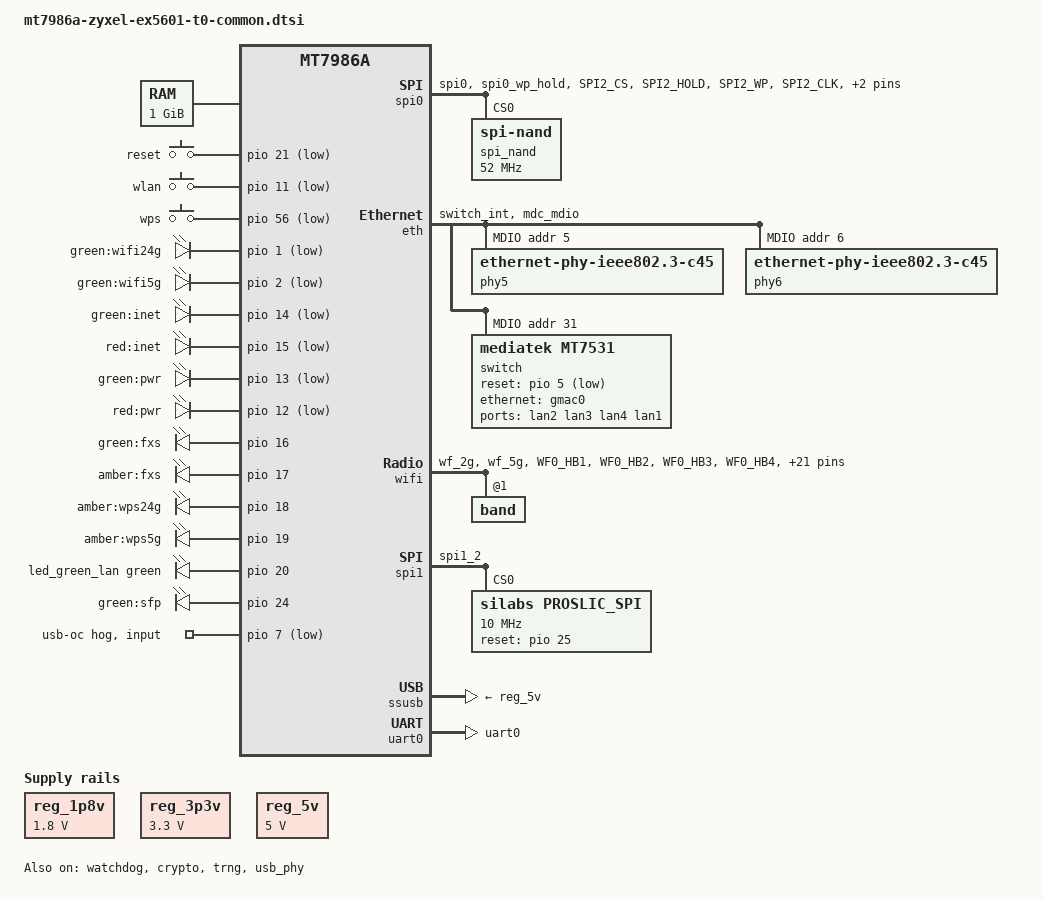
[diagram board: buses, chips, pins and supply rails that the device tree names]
// SPDX-License-Identifier: (GPL-2.0 OR MIT)
/*
 * Copyright (C) 2021 MediaTek Inc.
 * Author: Sam.Shih <sam.shih@mediatek.com>
 */

#include <dt-bindings/gpio/gpio.h>
#include <dt-bindings/input/input.h>
#include <dt-bindings/leds/common.h>
#include <dt-bindings/pinctrl/mt65xx.h>

#include "mt7986a.dtsi"

/ {
	aliases {
		serial0 = &uart0;
		label-mac-device = &gmac0;
		led-boot = &led_status_green;
		led-failsafe = &led_status_red;
		led-running = &led_status_green;
		led-upgrade = &led_status_red;
	};

	chosen {
		stdout-path = "serial0:115200n8";
	};

	memory@40000000 {
		reg = <0 0x40000000 0 0x40000000>;
		device_type = "memory";
	};

	reg_1p8v: regulator-1p8v {
		compatible = "regulator-fixed";
		regulator-name = "fixed-1.8V";
		regulator-min-microvolt = <1800000>;
		regulator-max-microvolt = <1800000>;
		regulator-boot-on;
		regulator-always-on;
	};

	reg_3p3v: regulator-3p3v {
		compatible = "regulator-fixed";
		regulator-name = "fixed-3.3V";
		regulator-min-microvolt = <3300000>;
		regulator-max-microvolt = <3300000>;
		regulator-boot-on;
		regulator-always-on;
	};

	reg_5v: regulator-5v {
		compatible = "regulator-fixed";
		regulator-name = "fixed-5V";
		regulator-min-microvolt = <5000000>;
		regulator-max-microvolt = <5000000>;
		regulator-boot-on;
		regulator-always-on;
	};

	gpio-keys {
		compatible = "gpio-keys";
		poll-interval = <20>;

		reset-button {
			label = "reset";
			gpios = <&pio 21 GPIO_ACTIVE_LOW>;
			linux,code = <KEY_RESTART>;
		};

		wlan-button {
			label = "wlan";
			gpios = <&pio 11 GPIO_ACTIVE_LOW>;
			linux,code = <KEY_WLAN>;
		};
		wps-button {
			label = "wps";
			gpios = <&pio 56 GPIO_ACTIVE_LOW>;
			linux,code = <KEY_WPS_BUTTON>;
		};
	};

	leds {
		compatible = "gpio-leds";

		led_green_wifi24g {
			label = "green:wifi24g";
			gpios = <&pio 1 GPIO_ACTIVE_LOW>;
			default-state = "off";
		};

		led_green_wifi5g {
			label = "green:wifi5g";
			gpios = <&pio 2 GPIO_ACTIVE_LOW>;
			default-state = "off";
		};

		led_green_inet {
			label = "green:inet";
			gpios = <&pio 14 GPIO_ACTIVE_LOW>;
			default-state = "off";
		};

		led_red_inet {
			label = "red:inet";
			gpios = <&pio 15 GPIO_ACTIVE_LOW>;
			default-state = "off";
		};

		led_status_green: led_green_pwr {
			label = "green:pwr";
			gpios = <&pio 13 GPIO_ACTIVE_LOW>;
			linux,default-trigger = "timer"; /* Default blinking */
			led-pattern = <125 125>; /* Fast blink is 4 HZ */
		};

		led_status_red: led_red_pwr {
			label = "red:pwr";
			gpios = <&pio 12 GPIO_ACTIVE_LOW>;
			default-state = "off";
		};

		led_green_fxs {
			label = "green:fxs";
			gpios = <&pio 16 GPIO_ACTIVE_HIGH>;
			default-state = "off";
		};

		led_amber_fxs {
			label = "amber:fxs";
			gpios = <&pio 17 GPIO_ACTIVE_HIGH>;
			default-state = "off";
		};

		led_amber_wps24g {
			label = "amber:wps24g";
			gpios = <&pio 18 GPIO_ACTIVE_HIGH>;
			default-state = "off";
		};

		led_amber_wps5g {
			label = "amber:wps5g";
			gpios = <&pio 19 GPIO_ACTIVE_HIGH>;
			default-state = "off";
		};

		led_green_lan {
			function = LED_FUNCTION_LAN;
			color = <LED_COLOR_ID_GREEN>;
			gpios = <&pio 20 GPIO_ACTIVE_HIGH>;
			default-state = "off";
		};

		led_green_sfp {
			label = "green:sfp";
			gpios = <&pio 24 GPIO_ACTIVE_HIGH>;
			default-state = "off";
		};
	};
};

&spi0 {
	pinctrl-names = "default";
	pinctrl-0 = <&spi_flash_pins>;
	#address-cells = <1>;
	#size-cells = <0>;
	status = "okay";

	spi_nand: spi_nand@0 {
		#address-cells = <1>;
		#size-cells = <1>;
		compatible = "spi-nand";
		reg = <0>;
		spi-max-frequency = <52000000>;
		spi-tx-bus-width = <4>;
		spi-rx-bus-width = <4>;

		nand_partitions: partitions {
			compatible = "fixed-partitions";
			#address-cells = <1>;
			#size-cells = <1>;
		};
	};
};

&eth {
	pinctrl-names = "default";
	pinctrl-0 = <&eth_pins>;
	status = "okay";

	gmac0: mac@0 {
		compatible = "mediatek,eth-mac";
		reg = <0>;
		phy-mode = "2500base-x";

		nvmem-cells = <&macaddr_factory_2a 0>;
		nvmem-cell-names = "mac-address";

		fixed-link {
			speed = <2500>;
			full-duplex;
			pause;
		};
	};

	gmac1: mac@1 {
		compatible = "mediatek,eth-mac";
		reg = <1>;
		label = "wan";
		phy-mode = "2500base-x";
		phy = <&phy6>;

		nvmem-cells = <&macaddr_factory_24 0>;
		nvmem-cell-names = "mac-address";
	};

	mdio: mdio-bus {
		#address-cells = <1>;
		#size-cells = <0>;
		reset-gpios = <&pio 6 GPIO_ACTIVE_LOW>;
		reset-delay-us = <1500000>;
		reset-post-delay-us = <1000000>;

		phy5: phy@5 {
			compatible = "ethernet-phy-ieee802.3-c45";
			reg = <5>;

			leds {
				#address-cells = <1>;
				#size-cells = <0>;

				led@0 {
					reg = <0>;
					color = <LED_COLOR_ID_GREEN>;
					function = LED_FUNCTION_LAN;
				};
			};
		};

		phy6: phy@6 {
			compatible = "ethernet-phy-ieee802.3-c45";
			reg = <6>;

			leds {
				#address-cells = <1>;
				#size-cells = <0>;

				led@0 {
					reg = <0>;
					color = <LED_COLOR_ID_GREEN>;
					function = LED_FUNCTION_WAN;
				};
			};
		};

		switch@1f {
			compatible = "mediatek,mt7531";
			reg = <31>;
			reset-gpios = <&pio 5 GPIO_ACTIVE_LOW>;

			ports {
				#address-cells = <1>;
				#size-cells = <0>;

				port@1 {
					reg = <1>;
					label = "lan2";
				};

				port@2 {
					reg = <2>;
					label = "lan3";
				};

				port@3 {
					reg = <3>;
					label = "lan4";
				};

				port@5 {
					reg = <5>;
					label = "lan1";
					phy-mode = "2500base-x";
					phy = <&phy5>;
				};

				port@6 {
					reg = <6>;
					ethernet = <&gmac0>;
					phy-mode = "2500base-x";

					fixed-link {
						speed = <2500>;
						full-duplex;
						pause;
					};
				};
			};
		};
	};
};

&watchdog {
	status = "okay";
};

&wifi {
	#address-cells = <1>;
	#size-cells = <0>;

	status = "okay";
	pinctrl-names = "default", "dbdc";
	pinctrl-0 = <&wf_2g_5g_pins>;
	pinctrl-1 = <&wf_dbdc_pins>;
	nvmem-cells = <&eeprom_factory>;
	nvmem-cell-names = "eeprom";

	band@1 {
		reg = <1>;
		nvmem-cells = <&macaddr_factory_4 1>;
		nvmem-cell-names = "mac-address";
	};
};

&crypto {
	status = "okay";
};

&pio {
	eth_pins: eth-pins {
		mux {
			function = "eth";
			groups = "switch_int", "mdc_mdio";
		};
	};

	spic_pins_g2: spic-pins-29-to-32 {
		mux {
			function = "spi";
			groups = "spi1_2";
		};
	};

	spi_flash_pins: spi-flash-pins-33-to-38 {
		mux {
			function = "spi";
			groups = "spi0", "spi0_wp_hold";
		};
		conf-pu {
			pins = "SPI2_CS", "SPI2_HOLD", "SPI2_WP";
			drive-strength = <MTK_DRIVE_4mA>;
			bias-disable;	/* bias-disable */
		};
		conf-pd {
			pins = "SPI2_CLK", "SPI2_MOSI", "SPI2_MISO";
			drive-strength = <MTK_DRIVE_4mA>;
			bias-disable;	/* bias-disable */
		};
	};

	uart0_pins: uart0-pins {
		mux {
			function = "uart";
			groups = "uart0";
		};
	};

	uart1_pins: uart1-pins {
		mux {
			function = "uart";
			groups = "uart1";
		};
	};

	uart2_pins: uart2-pins {
		mux {
			function = "uart";
			groups = "uart2";
		};
	};

	wf_2g_5g_pins: wf_2g_5g-pins {
		mux {
			function = "wifi";
			groups = "wf_2g", "wf_5g";
		};
		conf {
			pins = "WF0_HB1", "WF0_HB2", "WF0_HB3", "WF0_HB4",
				"WF0_HB0", "WF0_HB0_B", "WF0_HB5", "WF0_HB6",
				"WF0_HB7", "WF0_HB8", "WF0_HB9", "WF0_HB10",
				"WF0_TOP_CLK", "WF0_TOP_DATA", "WF1_HB1",
				"WF1_HB2", "WF1_HB3", "WF1_HB4", "WF1_HB0",
				"WF1_HB5", "WF1_HB6", "WF1_HB7", "WF1_HB8",
				"WF1_TOP_CLK", "WF1_TOP_DATA";
			drive-strength = <MTK_DRIVE_4mA>;
		};
	};

	wf_dbdc_pins: wf_dbdc-pins {
		mux {
			function = "wifi";
			groups = "wf_dbdc";
		};
		conf {
			pins = "WF0_HB1", "WF0_HB2", "WF0_HB3", "WF0_HB4",
				"WF0_HB0", "WF0_HB0_B", "WF0_HB5", "WF0_HB6",
				"WF0_HB7", "WF0_HB8", "WF0_HB9", "WF0_HB10",
				"WF0_TOP_CLK", "WF0_TOP_DATA", "WF1_HB1",
				"WF1_HB2", "WF1_HB3", "WF1_HB4", "WF1_HB0",
				"WF1_HB5", "WF1_HB6", "WF1_HB7", "WF1_HB8",
				"WF1_TOP_CLK", "WF1_TOP_DATA";
			drive-strength = <MTK_DRIVE_4mA>;
		};
	};

	usb-oc-hog {
		gpio-hog;
		gpios = <7 GPIO_ACTIVE_LOW>;
		input;
		line-name = "usb-oc";
	};
};

&spi1 {
	pinctrl-names = "default";
	pinctrl-0 = <&spic_pins_g2>;
	status = "okay";

	proslic_spi: proslic_spi@0 {
		compatible = "silabs,proslic_spi";
		reg = <0>;
		spi-max-frequency = <10000000>;
		spi-cpha = <1>;
		spi-cpol = <1>;
		channel_count = <1>;
		debug_level = <4>;       /* 1 = TRC, 2 = DBG, 4 = ERR */
		reset-gpios = <&pio 25 GPIO_ACTIVE_HIGH>;
		ig,enable-spi = <1>;     /* 1: Enable, 0: Disable */
	};
};

&ssusb {
	vusb33-supply = <&reg_3p3v>;
	vbus-supply = <&reg_5v>;
	status = "okay";
};

&trng {
	status = "okay";
};

&uart0 {
	pinctrl-names = "default";
	pinctrl-0 = <&uart0_pins>;
	status = "okay";
};

&uart1 {
	pinctrl-names = "default";
	pinctrl-0 = <&uart1_pins>;
	status = "disabled";

	/* EFR32MG21 Zigbee (BOOT)*/
};

&uart2 {
	pinctrl-names = "default";
	pinctrl-0 = <&uart2_pins>;
	status = "disabled";

	/* EFR32MG21 Zigbee */
};

&usb_phy {
	status = "okay";
};
